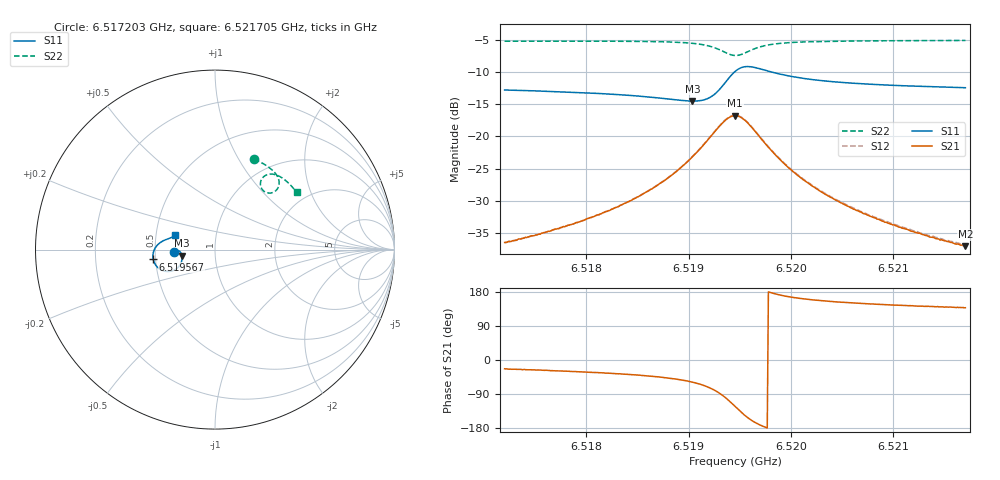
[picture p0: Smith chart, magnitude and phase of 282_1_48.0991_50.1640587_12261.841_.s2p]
#  HZ  S  RI  R  50.00
! Rohde & Schwarz Vector Network Analyzer
! Rohde-Schwarz,ZNB20-2Port,1311601062101988,3.16
! Created: UTC 12/23/2023, 4:02:51 AM
! freq[Hz]  re:S11  im:S11  re:S21  im:S21  re:S12  im:S12  re:S22  im:S22
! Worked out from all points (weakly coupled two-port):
!   401 points, 6.517203 GHz to 6.521705 GHz, reference 50 ohm
!   highest |S21| = -16.79 dB at 6.519454 GHz (marker M1); lowest = -37.1 dB at 6.521705 GHz (marker M2)
!   lowest |S11| = -14.5 dB at 6.519038 GHz (marker M3), VSWR 1.46, Z = 34.3 - j2.37 ohm
!   |S11| at or under -10 dB: start of sweep to 6.519449 GHz; 6.519811 GHz to end of sweep
!   |S22| runs from -7.4 to -5.1 dB; largest |S21 - S12| = 0.0044
!   S11 on the Smith chart (normalised r, x): 6.517203 GHz: 0.63, -0.02; 6.519567 GHz: 0.49, -0.06; 6.521705 GHz: 0.63, +0.10
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6.5172033e9  -0.2289 -0.013  0.0138 -0.00591  0.0139 -0.00549  0.2178 0.5037
6.5175297e9  -0.225 -0.0084  0.0156 -0.00759  0.0157 -0.00718  0.2417 0.4928
6.5179573e9  -0.2185 -0.00378  0.0188 -0.0115  0.0192 -0.0109  0.2733 0.4761
6.51834e9  -0.2104 -0.00244  0.0234 -0.0176  0.024 -0.0168  0.3019 0.4573
6.5187114e9  -0.1985 -0.00823  0.0303 -0.03  0.0312 -0.0291  0.3309 0.4317
6.518869e9  -0.192 -0.016  0.0337 -0.0402  0.0351 -0.0393  0.3433 0.416
6.5190378e9  -0.185 -0.0334  0.0362 -0.0589  0.0383 -0.0583  0.3546 0.392
6.5191391e9  -0.1839 -0.0522  0.034 -0.0771  0.0365 -0.0768  0.3575 0.3716
6.5192291e9  -0.1903 -0.0769  0.0245 -0.0995  0.0277 -0.0995  0.353 0.3483
6.5193642e9  -0.2372 -0.1181  -0.0235 -0.1321  -0.0199 -0.134  0.316 0.3163
6.5194542e9  -0.2978 -0.114  -0.0774 -0.1223  -0.0747 -0.1256  0.2736 0.3246
6.5195105e9  -0.329 -0.0884  -0.1026 -0.0962  -0.1005 -0.1  0.2565 0.347
6.5195668e9  -0.3442 -0.0548  -0.1121 -0.0655  -0.1112 -0.0692  0.2532 0.3724
6.5196681e9  -0.3399 -0.00441  -0.1026 -0.0228  -0.103 -0.0261  0.27 0.4051
6.5197919e9  -0.3179 0.0283  -0.0805 0.00173  -0.0812 -0.000651  0.2986 0.4197
6.5199944e9  -0.289 0.0487  -0.054 0.0132  -0.055 0.0118  0.334 0.4182
6.5202083e9  -0.2702 0.0568  -0.0384 0.0149  -0.0393 0.014  0.3597 0.4081
6.5204109e9  -0.2587 0.0609  -0.0296 0.0144  -0.0303 0.0137  0.3782 0.3965
6.520591e9  -0.2514 0.0639  -0.0242 0.0135  -0.0251 0.0132  0.392 0.3862
6.5209624e9  -0.2401 0.0691  -0.0174 0.0119  -0.0179 0.0116  0.4163 0.3638
6.5213563e9  -0.2315 0.0744  -0.0129 0.0104  -0.0135 0.0102  0.4386 0.3399
6.5217052e9  -0.2253 0.079  -0.0104 0.00939  -0.0108 0.00932  0.456 0.3181
